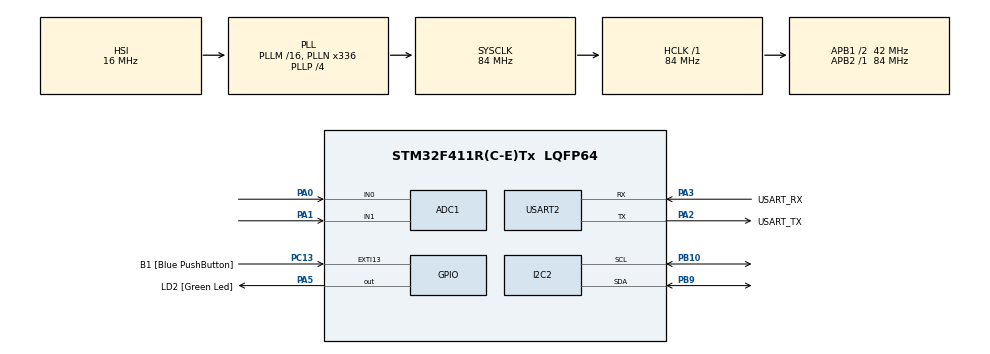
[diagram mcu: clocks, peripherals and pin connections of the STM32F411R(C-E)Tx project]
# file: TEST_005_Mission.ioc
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ADC1.Channel-0\#ChannelRegularConversion=ADC_CHANNEL_0
ADC1.Channel-1\#ChannelRegularConversion=ADC_CHANNEL_1
ADC1.ContinuousConvMode=DISABLE
ADC1.DiscontinuousConvMode=ENABLE
ADC1.EOCSelection=ADC_EOC_SINGLE_CONV
ADC1.ExternalTrigConv=ADC_SOFTWARE_START
ADC1.NbrOfConversion=2
ADC1.NbrOfConversionFlag=1
ADC1.Rank-0\#ChannelRegularConversion=1
ADC1.Rank-1\#ChannelRegularConversion=2
ADC1.SamplingTime-0\#ChannelRegularConversion=ADC_SAMPLETIME_3CYCLES
ADC1.SamplingTime-1\#ChannelRegularConversion=ADC_SAMPLETIME_3CYCLES
ADC1.ScanConvMode=ENABLE
ADC1.master=1
Mcu.Family=STM32F4
Mcu.Name=STM32F411R(C-E)Tx
Mcu.Package=LQFP64
NVIC.ADC_IRQn=true\:0\:0\:false\:false\:true\:true\:true\:true
NVIC.PriorityGroup=NVIC_PRIORITYGROUP_0
NVIC.TIM3_IRQn=true\:0\:0\:false\:false\:true\:true\:true\:true
PA0-WKUP.Signal=ADCx_IN0
PA1.Signal=ADCx_IN1
PA13.GPIO_Label=TMS
PA13.Mode=Serial_Wire
PA13.Signal=SYS_JTMS-SWDIO
PA14.GPIO_Label=TCK
PA14.Mode=Serial_Wire
PA14.Signal=SYS_JTCK-SWCLK
PA2.GPIO_Label=USART_TX
PA2.Mode=Asynchronous
PA2.Signal=USART2_TX
PA3.GPIO_Label=USART_RX
PA3.Mode=Asynchronous
PA3.Signal=USART2_RX
PA5.GPIO_Label=LD2 [Green Led]
PA5.Signal=GPIO_Output
PB10.Mode=I2C
PB10.Signal=I2C2_SCL
PB3.GPIO_Label=SWO
PB3.Signal=SYS_JTDO-SWO
PB9.Mode=I2C
PB9.Signal=I2C2_SDA
PC13-ANTI_TAMP.GPIO_Label=B1 [Blue PushButton]
PC13-ANTI_TAMP.GPIO_ModeDefaultEXTI=GPIO_MODE_IT_FALLING
PC13-ANTI_TAMP.Signal=GPXTI13
PC14-OSC32_IN.Mode=LSE-External-Oscillator
PC14-OSC32_IN.Signal=RCC_OSC32_IN
PC15-OSC32_OUT.Mode=LSE-External-Oscillator
PC15-OSC32_OUT.Signal=RCC_OSC32_OUT
PH0\ -\ OSC_IN.Mode=HSE-External-Clock-Source
PH0\ -\ OSC_IN.Signal=RCC_OSC_IN
PH1\ -\ OSC_OUT.Mode=HSE-External-Clock-Source
PH1\ -\ OSC_OUT.Signal=RCC_OSC_OUT
ProjectManager.HeapSize=0x200
ProjectManager.StackSize=0x400
ProjectManager.TargetToolchain=STM32CubeIDE
RCC.48MHZClocksFreq_Value=84000000
RCC.AHBFreq_Value=84000000
RCC.APB1CLKDivider=RCC_HCLK_DIV2
RCC.APB1Freq_Value=42000000
RCC.APB1TimFreq_Value=84000000
RCC.APB2Freq_Value=84000000
RCC.APB2TimFreq_Value=84000000
RCC.CortexFreq_Value=84000000
RCC.FLatency-AdvancedSettings=FLASH_LATENCY_2
RCC.HCLKFreq_Value=84000000
RCC.HSE_VALUE=8000000
RCC.HSI_VALUE=16000000
RCC.PLLN=336
RCC.PLLP=RCC_PLLP_DIV4
RCC.SYSCLKFreq_VALUE=84000000
RCC.SYSCLKSource=RCC_SYSCLKSOURCE_PLLCLK
RCC.VCOOutputFreq_Value=336000000
SH.ADCx_IN0.0=ADC1_IN0,IN0
SH.ADCx_IN1.0=ADC1_IN1,IN1
TIM3.Period=1000
TIM3.Prescaler=8400
TIM3.TIM_MasterOutputTrigger=TIM_TRGO_UPDATE
USART2.VirtualMode=VM_ASYNC
VP_TIM3_VS_ClockSourceINT.Mode=Internal
board=NUCLEO-F411RE

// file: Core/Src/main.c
/* USER CODE BEGIN Header */
/**
  ******************************************************************************
  * @file           : main.c
  * @brief          : Main program body
  ******************************************************************************
  * @attention
  *
  * Copyright (c) 2024 STMicroelectronics.
  * All rights reserved.
  *
  * This software is licensed under terms that can be found in the LICENSE file
  * in the root directory of this software component.
  * If no LICENSE file comes with this software, it is provided AS-IS.
  *
  ******************************************************************************
  */
/* USER CODE END Header */
#include "main.h"

ADC_HandleTypeDef hadc1;

I2C_HandleTypeDef hi2c2;

TIM_HandleTypeDef htim3;

UART_HandleTypeDef huart2;

void SystemClock_Config(void);
static void MX_GPIO_Init(void);
static void MX_USART2_UART_Init(void);
static void MX_ADC1_Init(void);
static void MX_I2C2_Init(void);
static void MX_TIM3_Init(void);

/* USER CODE BEGIN 0 */
unsigned short val1, val2, ch = 0;

void HAL_ADC_ConvCpltCallback(ADC_HandleTypeDef *hadc)
{
	if(ch == 0)
	{
		val1 = HAL_ADC_GetValue(&hadc1);
		ch++;
	}
	else
	{
		val2 = HAL_ADC_GetValue(&hadc1);
		ch = 0;
	}

}
void HAL_TIM_PeriodElapsedCallback(TIM_HandleTypeDef *htim)
{
	HAL_ADC_Start_IT(&hadc1);
}
/* USER CODE END 0 */

int main(void)
{

  /* MCU Configuration--------------------------------------------------------*/

  /* Reset of all peripherals, Initializes the Flash interface and the Systick. */
  HAL_Init();

  /* Configure the system clock */
  SystemClock_Config();

  /* Initialize all configured peripherals */
  MX_GPIO_Init();
  MX_USART2_UART_Init();
  MX_ADC1_Init();
  MX_I2C2_Init();
  MX_TIM3_Init();
  /* USER CODE BEGIN 2 */

  ProgramStart("LCD1602_Mission");
  HAL_TIM_Base_Start_IT(&htim3);
  char str[5];
  /* USER CODE END 2 */

  /* Infinite loop */
  while (1)
  {

    /* USER CODE BEGIN 3 */
	  printf("Current ADC Value : (%d, %d)\r\n", val1, val2);

	  sprintf(str , "%04d", val1);
	  LCD_printEx(str, 0);
	  HAL_Delay(10);
	  sprintf(str , "%04d", val2);
	  LCD_printEx(str, 1);
	  HAL_Delay(10);
  }
  /* USER CODE END 3 */
}

void SystemClock_Config(void)
{
  RCC_OscInitTypeDef RCC_OscInitStruct = {0};
  RCC_ClkInitTypeDef RCC_ClkInitStruct = {0};

  /** Configure the main internal regulator output voltage
  */
  __HAL_RCC_PWR_CLK_ENABLE();
  __HAL_PWR_VOLTAGESCALING_CONFIG(PWR_REGULATOR_VOLTAGE_SCALE1);

  /** Initializes the RCC Oscillators according to the specified parameters
  * in the RCC_OscInitTypeDef structure.
  */
  RCC_OscInitStruct.OscillatorType = RCC_OSCILLATORTYPE_HSI;
  RCC_OscInitStruct.HSIState = RCC_HSI_ON;
  RCC_OscInitStruct.HSICalibrationValue = RCC_HSICALIBRATION_DEFAULT;
  RCC_OscInitStruct.PLL.PLLState = RCC_PLL_ON;
  RCC_OscInitStruct.PLL.PLLSource = RCC_PLLSOURCE_HSI;
  RCC_OscInitStruct.PLL.PLLM = 16;
  RCC_OscInitStruct.PLL.PLLN = 336;
  RCC_OscInitStruct.PLL.PLLP = RCC_PLLP_DIV4;
  RCC_OscInitStruct.PLL.PLLQ = 4;
  if (HAL_RCC_OscConfig(&RCC_OscInitStruct) != HAL_OK)
  {
    Error_Handler();
  }

  /** Initializes the CPU, AHB and APB buses clocks
  */
  RCC_ClkInitStruct.ClockType = RCC_CLOCKTYPE_HCLK|RCC_CLOCKTYPE_SYSCLK
                              |RCC_CLOCKTYPE_PCLK1|RCC_CLOCKTYPE_PCLK2;
  RCC_ClkInitStruct.SYSCLKSource = RCC_SYSCLKSOURCE_PLLCLK;
  RCC_ClkInitStruct.AHBCLKDivider = RCC_SYSCLK_DIV1;
  RCC_ClkInitStruct.APB1CLKDivider = RCC_HCLK_DIV2;
  RCC_ClkInitStruct.APB2CLKDivider = RCC_HCLK_DIV1;

  if (HAL_RCC_ClockConfig(&RCC_ClkInitStruct, FLASH_LATENCY_2) != HAL_OK)
  {
    Error_Handler();
  }
}

static void MX_ADC1_Init(void)
{

  ADC_ChannelConfTypeDef sConfig = {0};

  /** Configure the global features of the ADC (Clock, Resolution, Data Alignment and number of conversion)
  */
  hadc1.Instance = ADC1;
  hadc1.Init.ClockPrescaler = ADC_CLOCK_SYNC_PCLK_DIV4;
  hadc1.Init.Resolution = ADC_RESOLUTION_12B;
  hadc1.Init.ScanConvMode = ENABLE;
  hadc1.Init.ContinuousConvMode = DISABLE;
  hadc1.Init.DiscontinuousConvMode = ENABLE;
  hadc1.Init.NbrOfDiscConversion = 1;
  hadc1.Init.ExternalTrigConvEdge = ADC_EXTERNALTRIGCONVEDGE_NONE;
  hadc1.Init.ExternalTrigConv = ADC_SOFTWARE_START;
  hadc1.Init.DataAlign = ADC_DATAALIGN_RIGHT;
  hadc1.Init.NbrOfConversion = 2;
  hadc1.Init.DMAContinuousRequests = DISABLE;
  hadc1.Init.EOCSelection = ADC_EOC_SINGLE_CONV;
  if (HAL_ADC_Init(&hadc1) != HAL_OK)
  {
    Error_Handler();
  }

  /** Configure for the selected ADC regular channel its corresponding rank in the sequencer and its sample time.
  */
  sConfig.Channel = ADC_CHANNEL_0;
  sConfig.Rank = 1;
  sConfig.SamplingTime = ADC_SAMPLETIME_3CYCLES;
  if (HAL_ADC_ConfigChannel(&hadc1, &sConfig) != HAL_OK)
  {
    Error_Handler();
  }

  /** Configure for the selected ADC regular channel its corresponding rank in the sequencer and its sample time.
  */
  sConfig.Channel = ADC_CHANNEL_1;
  sConfig.Rank = 2;
  if (HAL_ADC_ConfigChannel(&hadc1, &sConfig) != HAL_OK)
  {
    Error_Handler();
  }

}

static void MX_I2C2_Init(void)
{

  hi2c2.Instance = I2C2;
  hi2c2.Init.ClockSpeed = 100000;
  hi2c2.Init.DutyCycle = I2C_DUTYCYCLE_2;
  hi2c2.Init.OwnAddress1 = 0;
  hi2c2.Init.AddressingMode = I2C_ADDRESSINGMODE_7BIT;
  hi2c2.Init.DualAddressMode = I2C_DUALADDRESS_DISABLE;
  hi2c2.Init.OwnAddress2 = 0;
  hi2c2.Init.GeneralCallMode = I2C_GENERALCALL_DISABLE;
  hi2c2.Init.NoStretchMode = I2C_NOSTRETCH_DISABLE;
  if (HAL_I2C_Init(&hi2c2) != HAL_OK)
  {
    Error_Handler();
  }

}

static void MX_TIM3_Init(void)
{

  TIM_ClockConfigTypeDef sClockSourceConfig = {0};
  TIM_MasterConfigTypeDef sMasterConfig = {0};

  htim3.Instance = TIM3;
  htim3.Init.Prescaler = 8400;
  htim3.Init.CounterMode = TIM_COUNTERMODE_UP;
  htim3.Init.Period = 1000;
  htim3.Init.ClockDivision = TIM_CLOCKDIVISION_DIV1;
  htim3.Init.AutoReloadPreload = TIM_AUTORELOAD_PRELOAD_DISABLE;
  if (HAL_TIM_Base_Init(&htim3) != HAL_OK)
  {
    Error_Handler();
  }
  sClockSourceConfig.ClockSource = TIM_CLOCKSOURCE_INTERNAL;
  if (HAL_TIM_ConfigClockSource(&htim3, &sClockSourceConfig) != HAL_OK)
  {
    Error_Handler();
  }
  sMasterConfig.MasterOutputTrigger = TIM_TRGO_UPDATE;
  sMasterConfig.MasterSlaveMode = TIM_MASTERSLAVEMODE_DISABLE;
  if (HAL_TIMEx_MasterConfigSynchronization(&htim3, &sMasterConfig) != HAL_OK)
  {
    Error_Handler();
  }

}

static void MX_USART2_UART_Init(void)
{

  huart2.Instance = USART2;
  huart2.Init.BaudRate = 115200;
  huart2.Init.WordLength = UART_WORDLENGTH_8B;
  huart2.Init.StopBits = UART_STOPBITS_1;
  huart2.Init.Parity = UART_PARITY_NONE;
  huart2.Init.Mode = UART_MODE_TX_RX;
  huart2.Init.HwFlowCtl = UART_HWCONTROL_NONE;
  huart2.Init.OverSampling = UART_OVERSAMPLING_16;
  if (HAL_UART_Init(&huart2) != HAL_OK)
  {
    Error_Handler();
  }

}

static void MX_GPIO_Init(void)
{
  GPIO_InitTypeDef GPIO_InitStruct = {0};

  /* GPIO Ports Clock Enable */
  __HAL_RCC_GPIOC_CLK_ENABLE();
  __HAL_RCC_GPIOH_CLK_ENABLE();
  __HAL_RCC_GPIOA_CLK_ENABLE();
  __HAL_RCC_GPIOB_CLK_ENABLE();

  /*Configure GPIO pin Output Level */
  HAL_GPIO_WritePin(LD2_GPIO_Port, LD2_Pin, GPIO_PIN_RESET);

  /*Configure GPIO pin : B1_Pin */
  GPIO_InitStruct.Pin = B1_Pin;
  GPIO_InitStruct.Mode = GPIO_MODE_IT_FALLING;
  GPIO_InitStruct.Pull = GPIO_NOPULL;
  HAL_GPIO_Init(B1_GPIO_Port, &GPIO_InitStruct);

  /*Configure GPIO pin : LD2_Pin */
  GPIO_InitStruct.Pin = LD2_Pin;
  GPIO_InitStruct.Mode = GPIO_MODE_OUTPUT_PP;
  GPIO_InitStruct.Pull = GPIO_NOPULL;
  GPIO_InitStruct.Speed = GPIO_SPEED_FREQ_LOW;
  HAL_GPIO_Init(LD2_GPIO_Port, &GPIO_InitStruct);

}

void Error_Handler(void)
{
  __disable_irq();
  while (1)
  {
  }
}
